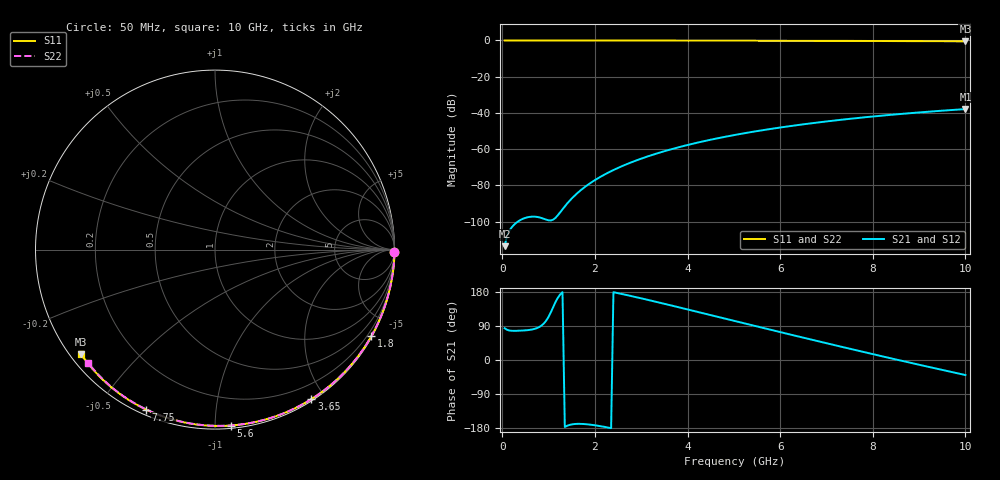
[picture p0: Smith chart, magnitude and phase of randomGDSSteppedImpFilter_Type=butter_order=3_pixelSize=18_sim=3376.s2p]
! freq	dB(S11)	phase(S11)	dB(S12)	phase(S12)
!  dB(S21)	phase(S21)	dB(S22)	phase(S22)
!S-par simulation data
#  GHz  S  DB  R 50
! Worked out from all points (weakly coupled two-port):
!   200 points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, 50 MHz to 10 GHz, reference 50 ohm
!   highest |S21| = -37.90 dB at 10 GHz (marker M1); lowest = -113.6 dB at 50 MHz (marker M2)
!   lowest |S11| = -0.5 dB at 10 GHz (marker M3), VSWR 36.39, Z = 1.54 - j17.2 ohm
!   |S11| at or under -10 dB: nowhere
!   |S22| runs from -0.5 to 0.0 dB; largest |S21 - S12| = 0
!   S11 on the Smith chart (normalised r, x): 50 MHz: open; 1.8 GHz: 0.03, -3.88; 3.65 GHz: 0.02, -1.83; 5.6 GHz: 0.02, -1.09; 7.75 GHz: 0.02, -0.66; 10 GHz: 0.03, -0.34
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0.05  -0.00 -0.8  -113.62 83.9  -113.62 83.9  -0.00 -0.8
0.45  -0.01 -7.3  -98.43 77.8  -98.43 77.8  -0.01 -7.2
0.9  -0.02 -14.6  -98.53 96.7  -98.53 96.7  -0.02 -14.3
1.75  -0.04 -28.1  -81.56 -168.9  -81.56 -168.9  -0.04 -27.6
1.8  -0.04 -28.9  -80.59 -169.3  -80.59 -169.3  -0.04 -28.4
1.85  -0.04 -29.7  -79.67 -169.9  -79.67 -169.9  -0.04 -29.1
2.05  -0.04 -32.8  -76.35 -173.2  -76.35 -173.2  -0.04 -32.2
2.25  -0.05 -35.9  -73.48 -177.5  -73.48 -177.5  -0.05 -35.3
2.55  -0.05 -40.6  -69.81 175.1  -69.81 175.1  -0.05 -39.8
2.95  -0.06 -46.7  -65.73 164.2  -65.73 164.2  -0.06 -45.8
3.4  -0.07 -53.5  -61.92 151.2  -61.92 151.2  -0.07 -52.5
3.65  -0.08 -57.2  -60.08 143.9  -60.08 143.9  -0.08 -56.1
4.3  -0.09 -66.7  -55.94 124.5  -55.94 124.5  -0.09 -65.4
5.05  -0.12 -77.3  -52.05 102.0  -52.05 102.0  -0.12 -75.9
5.6  -0.14 -84.9  -49.65 85.6  -49.65 85.6  -0.14 -83.3
6.15  -0.16 -92.4  -47.54 69.2  -47.54 69.2  -0.16 -90.6
6.7  -0.19 -99.6  -45.66 53.0  -45.66 53.0  -0.19 -97.7
7.2  -0.22 -106.2  -44.14 38.5  -44.14 38.5  -0.22 -104.1
7.75  -0.26 -113.3  -42.63 22.6  -42.63 22.6  -0.26 -111.0
8.35  -0.31 -120.9  -41.16 5.6  -41.16 5.6  -0.30 -118.3
9.15  -0.38 -131.1  -39.45 -16.7  -39.45 -16.7  -0.38 -128.0
10  -0.48 -142.0  -37.90 -39.7  -37.90 -39.7  -0.47 -138.3
